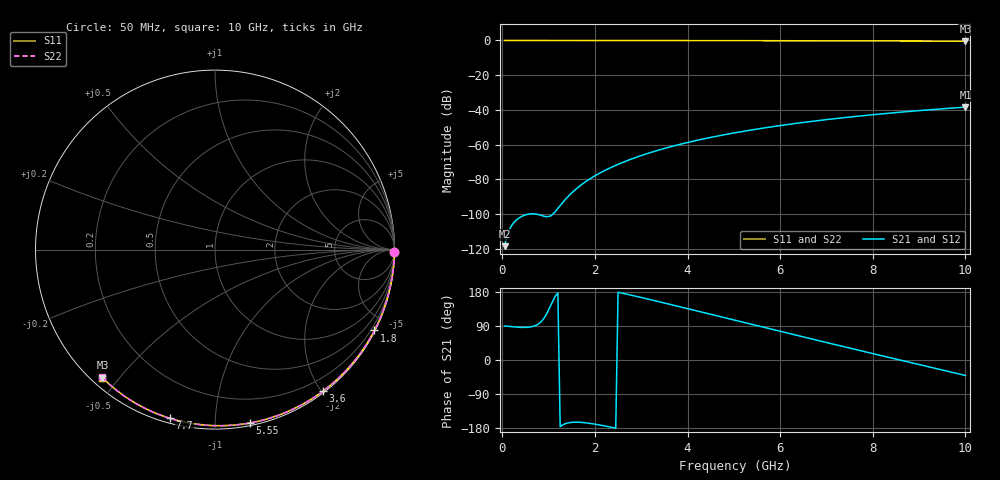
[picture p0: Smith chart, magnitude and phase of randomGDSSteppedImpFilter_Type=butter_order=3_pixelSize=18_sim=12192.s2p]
! freq	dB(S11)	phase(S11)	dB(S12)	phase(S12)
!  dB(S21)	phase(S21)	dB(S22)	phase(S22)
!S-par simulation data
#  GHz  S  DB  R 50
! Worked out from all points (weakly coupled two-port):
!   200 points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, 50 MHz to 10 GHz, reference 50 ohm
!   highest |S21| = -38.44 dB at 10 GHz (marker M1); lowest = -118.6 dB at 50 MHz (marker M2)
!   lowest |S11| = -0.4 dB at 10 GHz (marker M3), VSWR 39.06, Z = 1.54 - j22.6 ohm
!   |S11| at or under -10 dB: nowhere
!   |S22| runs from -0.4 to 0.0 dB; largest |S21 - S12| = 0
!   S11 on the Smith chart (normalised r, x): 50 MHz: open; 1.8 GHz: 0.04, -4.18; 3.6 GHz: 0.02, -2.02; 5.55 GHz: 0.02, -1.22; 7.7 GHz: 0.02, -0.77; 10 GHz: 0.03, -0.45
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0.05  -0.00 -0.8  -118.61 89.6  -118.61 89.6  -0.00 -0.8
0.9  -0.02 -13.6  -101.33 110.4  -101.33 110.4  -0.02 -13.6
1.75  -0.03 -26.2  -82.38 -165.1  -82.38 -165.1  -0.03 -26.3
1.8  -0.03 -26.9  -81.43 -165.8  -81.43 -165.8  -0.03 -27.0
1.85  -0.04 -27.6  -80.54 -166.5  -80.54 -166.5  -0.04 -27.7
1.9  -0.04 -28.4  -79.68 -167.4  -79.68 -167.4  -0.04 -28.5
2.05  -0.04 -30.6  -77.30 -170.3  -77.30 -170.3  -0.04 -30.7
2.25  -0.04 -33.5  -74.49 -174.9  -74.49 -174.9  -0.04 -33.6
2.45  -0.05 -36.4  -72.00 -179.9  -72.00 -179.9  -0.05 -36.5
2.65  -0.05 -39.2  -69.78 174.7  -69.78 174.7  -0.05 -39.4
3  -0.06 -44.2  -66.37 164.9  -66.37 164.9  -0.06 -44.4
3.4  -0.07 -49.8  -63.03 153.4  -63.03 153.4  -0.07 -50.0
3.6  -0.07 -52.6  -61.54 147.5  -61.54 147.5  -0.07 -52.8
4.3  -0.09 -62.2  -57.03 126.6  -57.03 126.6  -0.09 -62.4
5.05  -0.11 -72.1  -53.10 104.1  -53.10 104.1  -0.11 -72.4
5.55  -0.13 -78.6  -50.87 89.2  -50.87 89.2  -0.13 -78.8
6.1  -0.15 -85.5  -48.69 72.7  -48.69 72.7  -0.15 -85.8
6.7  -0.18 -93.0  -46.60 55.0  -46.60 55.0  -0.18 -93.3
7.7  -0.24 -104.9  -43.61 25.6  -43.61 25.6  -0.24 -105.3
8.35  -0.29 -112.5  -41.94 6.7  -41.94 6.7  -0.29 -112.9
9.15  -0.36 -121.7  -40.12 -16.3  -40.12 -16.3  -0.36 -122.1
10  -0.44 -131.3  -38.44 -40.8  -38.44 -40.8  -0.45 -131.7
